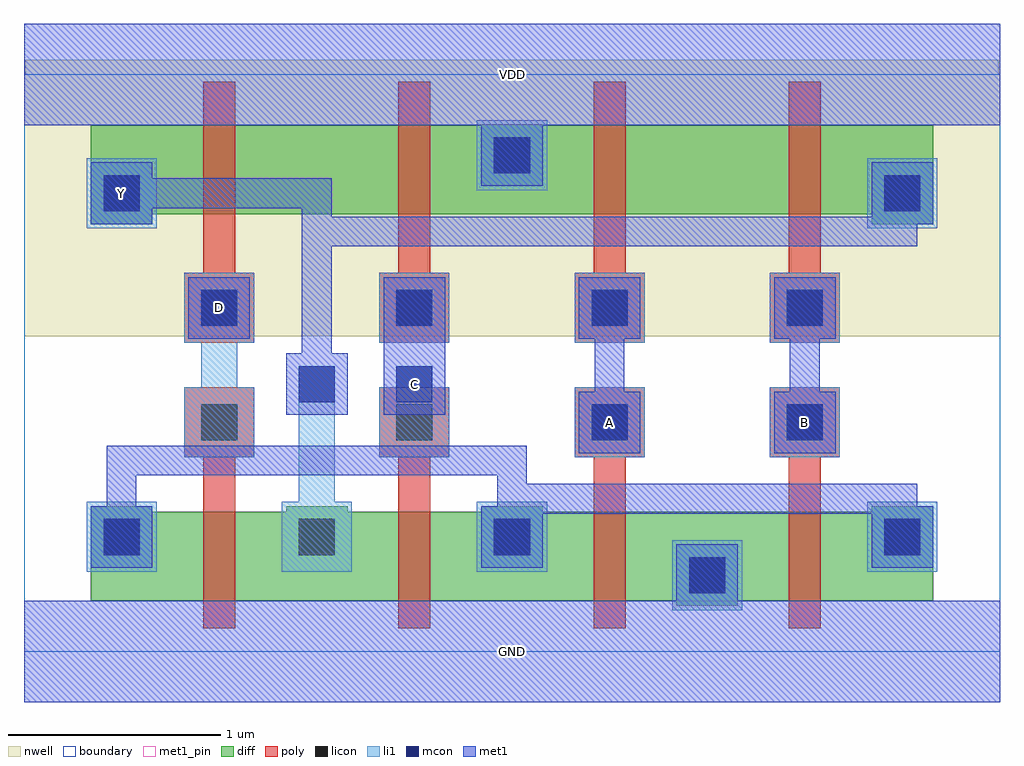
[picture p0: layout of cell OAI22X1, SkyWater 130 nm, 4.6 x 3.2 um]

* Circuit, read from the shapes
.subckt OAI22X1 A B C D GND VDD Y
XM1 Y D n1 VSUBS sky130_fd_pr__nfet_01v8 w=0.42 l=0.15
XM2 n1 C Y VSUBS sky130_fd_pr__nfet_01v8 w=0.42 l=0.15
XM3 GND A n1 VSUBS sky130_fd_pr__nfet_01v8 w=0.42 l=0.15
XM4 n1 B GND VSUBS sky130_fd_pr__nfet_01v8 w=0.42 l=0.15
XM5 n2 D Y n3 sky130_fd_pr__pfet_01v8 w=0.42 l=0.15
XM6 VDD C n2 n3 sky130_fd_pr__pfet_01v8 w=0.42 l=0.15
XM7 n4 A VDD n3 sky130_fd_pr__pfet_01v8 w=0.42 l=0.15
XM8 Y B n4 n3 sky130_fd_pr__pfet_01v8 w=0.42 l=0.15
.ends

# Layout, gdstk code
import gdstk
lib = gdstk.Library(unit=1e-6, precision=1e-09)
def R(c, l, rs):  # rectangles x0, y0, x1, y1
    for r in rs: c.add(gdstk.rectangle(r[:2], r[2:], *l))
def A(c, l, x, y, w, h, nx, ny, dx, dy):  # array of equal rectangles
    R(c, l, [(x+i*dx, y+j*dy, x+i*dx+w, y+j*dy+h) for i in range(nx) for j in range(ny)])
def P(c, l, *ps):  # polygons
    for p in ps: c.add(gdstk.Polygon(p, *l))
nwell = (64, 20)
diff = (65, 20)
poly = (66, 20)
licon = (66, 44)
li1 = (67, 20)
mcon = (67, 44)
met1_pin = (68, 16)
met1 = (68, 20)
boundary = (235, 4)

oai22x1 = lib.new_cell('OAI22X1')
P(oai22x1, nwell, [(0,1.485),(0,2.72),(0.005,2.72),(0.005,2.79),(4.595,2.79),(4.595,2.72),(4.6,2.72),(4.6,1.485)])
P(oai22x1, diff, [(3.075,0.215),(3.075,0.24),(0.315,0.24),(0.315,0.685),(0.605,0.685),(0.605,0.66),(1.235,0.66),(1.235,0.685),(1.525,0.685),(1.525,0.66),(2.155,0.66),(2.155,0.685),(2.445,0.685),(2.445,0.66),(3.995,0.66),(3.995,0.685),(4.285,0.685),(4.285,0.24),(3.365,0.24),(3.365,0.215)],
  [(0.315,2.015),(0.315,2.48),(2.155,2.48),(2.155,2.485),(2.445,2.485),(2.445,2.48),(4.285,2.48),(4.285,2.015),(3.995,2.015),(3.995,2.06),(0.605,2.06),(0.605,2.015)])
P(oai22x1, poly, [(0.845,0.11),(0.845,0.915),(0.755,0.915),(0.755,1.245),(1.085,1.245),(1.085,0.915),(0.995,0.915),(0.995,0.11)],
  [(1.765,0.11),(1.765,0.915),(1.675,0.915),(1.675,1.245),(2.005,1.245),(2.005,0.915),(1.915,0.915),(1.915,0.11)],
  [(2.685,0.11),(2.685,0.915),(2.595,0.915),(2.595,1.245),(2.925,1.245),(2.925,0.915),(2.835,0.915),(2.835,0.11)],
  [(3.605,0.11),(3.605,0.915),(3.515,0.915),(3.515,1.245),(3.845,1.245),(3.845,0.915),(3.755,0.915),(3.755,0.11)],
  [(0.755,1.455),(0.755,1.785),(0.845,1.785),(0.845,2.685),(0.995,2.685),(0.995,1.785),(1.085,1.785),(1.085,1.455)],
  [(1.675,1.455),(1.675,1.785),(1.765,1.785),(1.765,2.685),(1.915,2.685),(1.915,1.785),(2.005,1.785),(2.005,1.455)],
  [(2.595,1.455),(2.595,1.785),(2.685,1.785),(2.685,2.685),(2.835,2.685),(2.835,1.785),(2.925,1.785),(2.925,1.455)],
  [(3.515,1.455),(3.515,1.785),(3.605,1.785),(3.605,2.685),(3.755,2.685),(3.755,1.785),(3.845,1.785),(3.845,1.455)])
A(oai22x1, licon, 0.375, 0.455, 0.17, 0.17, 3, 1, 0.92, 0)
A(oai22x1, licon, 0.835, 0.995, 0.17, 0.17, 4, 2, 0.92, 0.54)
R(oai22x1, licon, [(3.135,0.275,3.305,0.445), (4.055,0.455,4.225,0.625), (0.375,2.075,0.545,2.245), (4.055,2.075,4.225,2.245), (2.215,2.255,2.385,2.425)])
A(oai22x1, li1, 0.295, 0.375, 0.33, 0.33, 3, 1, 1.84, 0)
A(oai22x1, li1, 1.675, 1.455, 0.33, 0.33, 3, 1, 0.92, 0)
R(oai22x1, li1, [(3.055,0.195,3.385,0.525), (2.595,0.915,2.925,1.245), (3.515,0.915,3.845,1.245), (0.295,1.995,0.625,2.325), (3.975,1.995,4.305,2.325), (2.135,2.175,2.465,2.505)])
P(oai22x1, li1, [(1.215,0.375),(1.215,0.705),(1.295,0.705),(1.295,1.345),(1.465,1.345),(1.465,0.705),(1.545,0.705),(1.545,0.375)],
  [(1.675,0.915),(1.675,1.245),(1.755,1.245),(1.755,1.345),(1.925,1.345),(1.925,1.245),(2.005,1.245),(2.005,0.915)],
  [(0.755,0.915),(0.755,1.245),(0.835,1.245),(0.835,1.455),(0.755,1.455),(0.755,1.785),(1.085,1.785),(1.085,1.455),(1.005,1.455),(1.005,1.245),(1.085,1.245),(1.085,0.915)])
A(oai22x1, mcon, 0.375, 0.455, 0.17, 0.17, 3, 1, 1.84, 0)
A(oai22x1, mcon, 0.835, 1.535, 0.17, 0.17, 4, 1, 0.92, 0)
R(oai22x1, mcon, [(3.135,0.275,3.305,0.445), (2.675,0.995,2.845,1.165), (3.595,0.995,3.765,1.165), (1.295,1.175,1.465,1.345), (1.755,1.175,1.925,1.345), (0.375,2.075,0.545,2.245), (4.055,2.075,4.225,2.245), (2.215,2.255,2.385,2.425)])
R(oai22x1, met1_pin, [(0,-0.24,4.6,0.24), (1.695,1.115,1.985,1.765), (0.775,1.475,1.065,1.765), (0,2.48,4.6,2.96)])
P(oai22x1, met1_pin, [(1.235,1.115),(1.235,1.405),(1.31,1.405),(1.31,2.09),(0.605,2.09),(0.605,2.015),(0.315,2.015),(0.315,2.305),(0.605,2.305),(0.605,2.23),(1.45,2.23),(1.45,2.05),(3.995,2.05),(3.995,2.305),(4.285,2.305),(4.285,2.015),(4.21,2.015),(4.21,1.91),(1.45,1.91),(1.45,1.405),(1.525,1.405),(1.525,1.115)],
  [(3.535,0.935),(3.535,1.225),(3.61,1.225),(3.61,1.475),(3.535,1.475),(3.535,1.765),(3.825,1.765),(3.825,1.475),(3.75,1.475),(3.75,1.225),(3.825,1.225),(3.825,0.935)],
  [(2.615,0.935),(2.615,1.225),(2.69,1.225),(2.69,1.475),(2.615,1.475),(2.615,1.765),(2.905,1.765),(2.905,1.475),(2.83,1.475),(2.83,1.225),(2.905,1.225),(2.905,0.935)])
R(oai22x1, met1, [(1.695,1.115,1.985,1.765), (0.775,1.475,1.065,1.765)])
P(oai22x1, met1, [(0,-0.24),(0,0.24),(3.075,0.24),(3.075,0.505),(3.365,0.505),(3.365,0.24),(4.6,0.24),(4.6,-0.24)],
  [(0.315,0.395),(0.315,0.685),(0.39,0.685),(0.39,0.97),(2.37,0.97),(2.37,0.79),(4.21,0.79),(4.21,0.685),(4.285,0.685),(4.285,0.395),(3.995,0.395),(3.995,0.65),(2.445,0.65),(2.445,0.395),(2.155,0.395),(2.155,0.685),(2.23,0.685),(2.23,0.83),(0.53,0.83),(0.53,0.685),(0.605,0.685),(0.605,0.395)],
  [(2.615,0.935),(2.615,1.225),(2.69,1.225),(2.69,1.475),(2.615,1.475),(2.615,1.765),(2.905,1.765),(2.905,1.475),(2.83,1.475),(2.83,1.225),(2.905,1.225),(2.905,0.935)],
  [(3.535,0.935),(3.535,1.225),(3.61,1.225),(3.61,1.475),(3.535,1.475),(3.535,1.765),(3.825,1.765),(3.825,1.475),(3.75,1.475),(3.75,1.225),(3.825,1.225),(3.825,0.935)],
  [(1.235,1.115),(1.235,1.405),(1.31,1.405),(1.31,2.09),(0.605,2.09),(0.605,2.015),(0.315,2.015),(0.315,2.305),(0.605,2.305),(0.605,2.23),(1.45,2.23),(1.45,2.05),(3.995,2.05),(3.995,2.305),(4.285,2.305),(4.285,2.015),(4.21,2.015),(4.21,1.91),(1.45,1.91),(1.45,1.405),(1.525,1.405),(1.525,1.115)],
  [(2.155,2.195),(2.155,2.48),(0,2.48),(0,2.96),(4.6,2.96),(4.6,2.48),(2.445,2.48),(2.445,2.195)])
R(oai22x1, boundary, [(0,0,4.6,2.72)])
oai22x1.add(gdstk.Label('Y', (0.46,2.16), layer=68, texttype=5))
oai22x1.add(gdstk.Label('B', (3.68,1.08), layer=68, texttype=5))
oai22x1.add(gdstk.Label('C', (1.84,1.26), layer=68, texttype=5))
oai22x1.add(gdstk.Label('D', (0.92,1.62), layer=68, texttype=5))
oai22x1.add(gdstk.Label('A', (2.76,1.08), layer=68, texttype=5))
oai22x1.add(gdstk.Label('GND', (2.3,0), layer=68, texttype=5))
oai22x1.add(gdstk.Label('VDD', (2.3,2.72), layer=68, texttype=5))

lib.write_gds('OAI22X1.gds')
